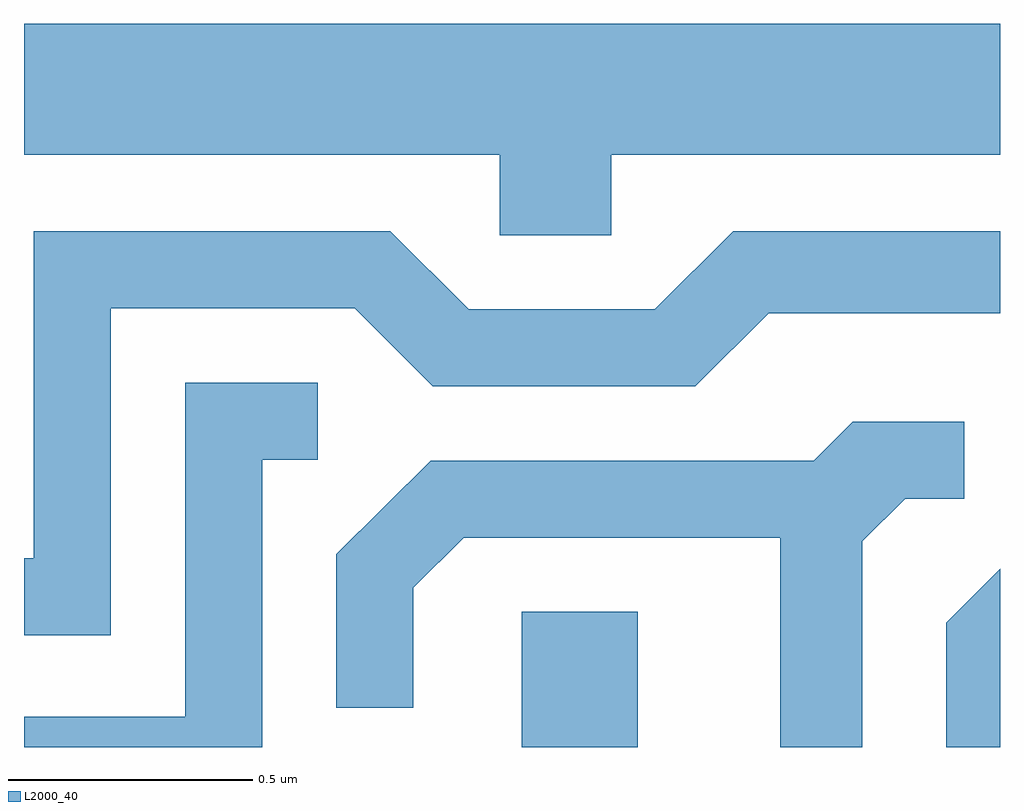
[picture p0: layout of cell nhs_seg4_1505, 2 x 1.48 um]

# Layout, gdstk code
import gdstk
lib = gdstk.Library(unit=1e-6, precision=1e-09)
def R(c, l, rs):  # rectangles x0, y0, x1, y1
    for r in rs: c.add(gdstk.rectangle(r[:2], r[2:], *l))
def P(c, l, *ps):  # polygons
    for p in ps: c.add(gdstk.Polygon(p, *l))
L2000_40 = (2000, 40)

nhs_seg4_1505 = lib.new_cell('nhs_seg4_1505')
R(nhs_seg4_1505, L2000_40, [(196.631,1388.982,196.869,1389.259)])
P(nhs_seg4_1505, L2000_40, [(196.814,1390.196),(197.611,1390.196),(197.611,1390.464),(195.611,1390.464),(195.611,1390.196),(196.586,1390.196),(196.586,1390.031),(196.814,1390.031)],
  [(195.789,1389.881),(196.289,1389.881),(196.449,1389.721),(196.987,1389.721),(197.137,1389.871),(197.611,1389.871),(197.611,1390.039),(197.064,1390.039),(196.904,1389.879),(196.522,1389.879),(196.362,1390.039),(195.631,1390.039),(195.631,1389.369),(195.611,1389.369),(195.611,1389.211),(195.789,1389.211)],
  [(196.099,1389.571),(196.213,1389.571),(196.213,1389.729),(195.941,1389.729),(195.941,1389.044),(195.611,1389.044),(195.611,1388.982),(196.099,1388.982)],
  [(197.329,1389.404),(197.417,1389.491),(197.538,1389.491),(197.538,1389.649),(197.309,1389.649),(197.229,1389.569),(196.444,1389.569),(196.251,1389.377),(196.251,1389.063),(196.409,1389.063),(196.409,1389.309),(196.512,1389.411),(197.161,1389.411),(197.161,1388.982),(197.329,1388.982)],
  [(197.611,1389.347),(197.501,1389.237),(197.501,1388.982),(197.611,1388.982)])

lib.write_gds('nhs_seg4_1505.gds')
